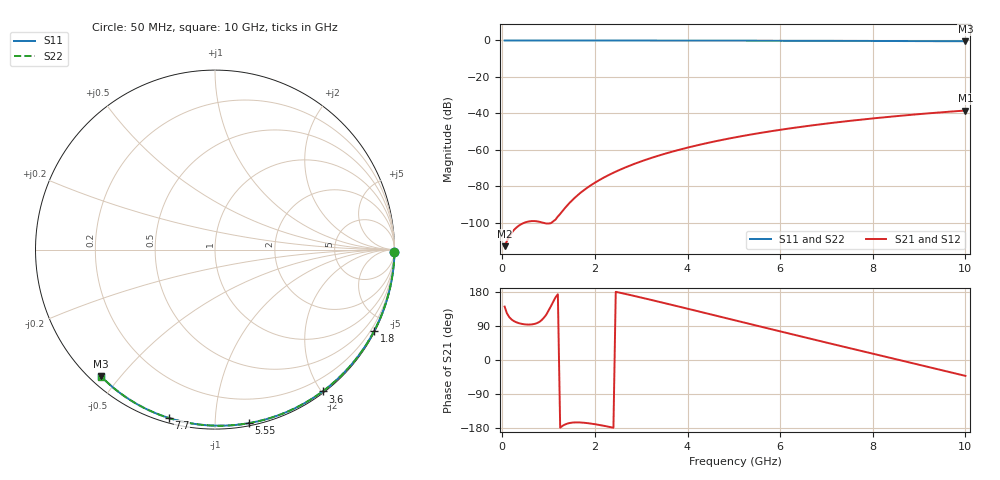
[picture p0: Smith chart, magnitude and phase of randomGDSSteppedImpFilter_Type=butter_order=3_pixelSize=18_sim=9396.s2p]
! freq	dB(S11)	phase(S11)	dB(S12)	phase(S12)
!  dB(S21)	phase(S21)	dB(S22)	phase(S22)
!S-par simulation data
#  GHz  S  DB  R 50
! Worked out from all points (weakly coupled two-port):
!   200 points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, 50 MHz to 10 GHz, reference 50 ohm
!   highest |S21| = -38.44 dB at 10 GHz (marker M1); lowest = -112.8 dB at 50 MHz (marker M2)
!   lowest |S11| = -0.4 dB at 10 GHz (marker M3), VSWR 38.71, Z = 1.55 - j22.3 ohm
!   |S11| at or under -10 dB: nowhere
!   |S22| runs from -0.4 to 0.0 dB; largest |S21 - S12| = 0
!   S11 on the Smith chart (normalised r, x): 50 MHz: open; 1.8 GHz: 0.04, -4.16; 3.6 GHz: 0.02, -2.01; 5.55 GHz: 0.02, -1.21; 7.7 GHz: 0.02, -0.76; 10 GHz: 0.03, -0.45
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0.05  -0.00 -0.8  -112.85 140.9  -112.85 140.9  -0.00 -0.8
0.9  -0.02 -13.6  -100.15 111.8  -100.15 111.8  -0.02 -13.6
1.75  -0.03 -26.3  -82.36 -165.4  -82.36 -165.4  -0.03 -26.3
1.8  -0.03 -27.0  -81.41 -166.0  -81.41 -166.0  -0.03 -27.0
1.85  -0.04 -27.8  -80.51 -166.7  -80.51 -166.7  -0.04 -27.8
1.9  -0.04 -28.5  -79.65 -167.5  -79.65 -167.5  -0.04 -28.5
2.05  -0.04 -30.7  -77.26 -170.4  -77.26 -170.4  -0.04 -30.7
2.25  -0.04 -33.6  -74.44 -175.0  -74.44 -175.0  -0.04 -33.6
2.45  -0.05 -36.5  -71.95 180.0  -71.95 180.0  -0.05 -36.5
2.65  -0.05 -39.4  -69.73 174.6  -69.73 174.6  -0.05 -39.4
3  -0.06 -44.4  -66.32 164.8  -66.32 164.8  -0.06 -44.4
3.4  -0.07 -50.1  -62.98 153.2  -62.98 153.2  -0.07 -50.0
3.6  -0.07 -52.8  -61.49 147.3  -61.49 147.3  -0.07 -52.8
4.3  -0.09 -62.4  -56.98 126.4  -56.98 126.4  -0.09 -62.4
5.05  -0.11 -72.4  -53.05 104.0  -53.05 104.0  -0.11 -72.4
5.55  -0.13 -78.9  -50.82 89.0  -50.82 89.0  -0.13 -78.9
6.1  -0.15 -85.9  -48.64 72.6  -48.64 72.6  -0.15 -85.9
6.7  -0.18 -93.4  -46.55 54.8  -46.55 54.8  -0.18 -93.3
7.7  -0.24 -105.4  -43.57 25.4  -43.57 25.4  -0.24 -105.4
8.35  -0.29 -113.0  -41.90 6.5  -41.90 6.5  -0.29 -113.0
9.15  -0.36 -122.2  -40.09 -16.9  -40.09 -16.9  -0.36 -122.2
10  -0.45 -131.9  -38.44 -41.9  -38.44 -41.9  -0.45 -131.9
